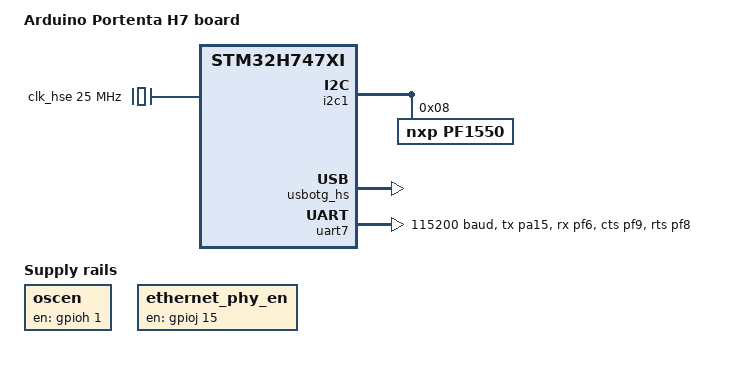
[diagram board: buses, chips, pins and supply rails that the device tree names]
/*
 * Copyright (c) 2022 Benjamin Björnsson <benjamin.bjornsson@gmail.com>.
 *
 * SPDX-License-Identifier: Apache-2.0
 */

/dts-v1/;
#include <st/h7/stm32h747Xi_m7.dtsi>
#include <st/h7/stm32h747xihx-pinctrl.dtsi>
#include "arduino_portenta_h7-common.dtsi"
#include <../boards/common/usb/cdc_acm_serial.dtsi>

/ {
	model = "Arduino Portenta H7 board";
	compatible = "arduino,portenta-h7";

	/* HW resources are split between CM7 and CM4 */
	chosen {
		zephyr,sram = &sram0;
		zephyr,flash = &flash0;
		zephyr,code-partition = &slot0_partition;
		zephyr,bt-hci = &bt_hci_uart;
	};

	oscen: oscen {
		compatible = "regulator-fixed";
		regulator-name = "oscen";
		enable-gpios = <&gpioh 1 GPIO_ACTIVE_HIGH>;
		regulator-boot-on;
		status = "okay";
	};

	ethernet_phy_en: ethernet_phy_en {
		compatible = "regulator-fixed";
		regulator-name = "ethernet-phy-reset-release";
		enable-gpios = <&gpioj 15 GPIO_ACTIVE_HIGH>;
		regulator-boot-on;
		status = "okay";
	};

	sdram1: sdram@c0000000 {
		compatible = "zephyr,memory-region", "mmio-sram";
		device_type = "memory";
		reg = <0xc0000000 DT_SIZE_M(8)>;
		zephyr,memory-region = "SDRAM1";
		zephyr,memory-attr = <DT_MEM_ARM(ATTR_MPU_RAM)>;
	};
};

&clk_hse {
	clock-frequency = <DT_FREQ_M(25)>;
	hse-bypass;
	status = "okay";
};

&clk_hsi {
	hsi-div = <1>;
	status = "okay";
};

&pll {
	div-m = <5>;
	mul-n = <160>;
	div-p = <2>;
	div-q = <10>;
	div-r = <2>;
	clocks = <&clk_hse>;
	status = "okay";
};

/** The power supply for the Portenta H7 is based on a ST PSU reference design.
 *  The design specification from this reference design limits the maximum
 *  clock speed to 400 MHz.
 *        Refer: section 8.1 of the reference design guide.
 */

&rcc {
	clocks = <&pll>;
	clock-frequency = <DT_FREQ_M(400)>;
};

/* USART1 is enabled on M4 by default */
&usart1 {
	status = "disabled";
};

&i2c1 {
	status = "okay";

	pf1550: pmic@8 {
		status = "okay";
		reg = <0x8>;
		compatible = "nxp,pf1550";

		pmic_regulators: regulators {
			status = "okay";
			compatible = "nxp,pf1550-regulator";

			pf1550_sw1: BUCK1 {
				regulator-init-microvolt = <3000000>;
				regulator-boot-on;
			};

			pf1550_sw2: BUCK2 {
				regulator-init-microvolt = <3300000>;
				regulator-boot-on;
			};

			pf1550_sw3: BUCK3 {
				regulator-init-microvolt = <3300000>;
				regulator-init-microamp = <2000000>;
				regulator-boot-on;
			};

			pf1550_ldo1: LDO1 {
				regulator-init-microvolt = <1000000>;
				regulator-boot-on;
			};

			pf1550_ldo2: LDO2 {
				regulator-init-microvolt = <1800000>;
				regulator-boot-on;
			};

			pf1550_ldo3: LDO3 {
				regulator-init-microvolt = <1200000>;
				regulator-boot-on;
			};
		};

		pmic_charger: charger {
			status = "okay";
			compatible = "nxp,pf1550-charger";
			constant-charge-current-max-microamp = <100000>;
			constant-charge-voltage-max-microvolt = <4200000>;
			pf1550,int-gpios = <&gpiok 0 0>;
			pf1550,led-behaviour = "manual-off";
			pf1550,system-voltage-min-threshold-microvolt = <3500000>;
			pf1550,thermistor-monitoring-mode = "thermistor";
			pf1550,vbus-current-limit-microamp = <1500000>;
		};
	};
};

/* Only one should be enabled */
&usbotg_fs {
	status = "disabled";
};

&usbotg_hs {
	status = "okay";
};

&flash0 {
	partitions {
		compatible = "fixed-partitions";
		#address-cells = <1>;
		#size-cells = <1>;

		boot_partition: partition@0 {
			label = "mcuboot";
			reg = <0x00000000 0x00010000>;
			read-only;
		};

		/*
		 * The flash starting at 0x00010000 and ending at
		 * 0x0001ffff (sectors 16-31) is reserved for use
		 * by the application.
		 */
		scratch_partition: partition@10000 {
			label = "image-scratch";
			reg = <0x00010000 0x00030000>;
		};

		/* The arduino default bootloader occupies the address space 0x0 - 0x40000.
		 * This way regardless of the user's choice to use the mcuboot bootloader,
		 * applications will be located at 0x40000 which will be loaded by the
		 * arduino bootloader.
		 */
		slot0_partition: partition@40000 {
			label = "image-0";
			reg = <0x00040000 0x00060000>;
		};

		slot1_partition: partition@A0000 {
			label = "image-1";
			reg = <0x000A0000 0x00060000>;
		};
	};
};

&uart7 {
	pinctrl-0 = <&uart7_tx_pa15 &uart7_rx_pf6
		     &uart7_cts_pf9 &uart7_rts_pf8>;
	pinctrl-names = "default";
	current-speed = <115200>;
	hw-flow-control;
	status = "okay";

	bt_hci_uart: bt_hci_uart {
		compatible = "zephyr,bt-hci-uart";
		status = "okay";

		murata-1dx {
			compatible = "infineon,cyw43xxx-bt-hci";
			bt-reg-on-gpios = <&gpioj 12 GPIO_ACTIVE_HIGH>;
			bt-host-wake-gpios = <&gpioj 13 GPIO_ACTIVE_HIGH>;
			bt-dev-wake-gpios = <&gpioj 14 GPIO_ACTIVE_HIGH>;
		};
	};
};
